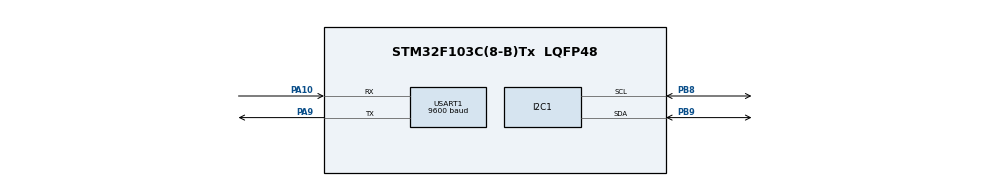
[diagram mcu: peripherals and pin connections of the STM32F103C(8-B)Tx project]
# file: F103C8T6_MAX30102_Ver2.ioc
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Mcu.Family=STM32F1
Mcu.Name=STM32F103C(8-B)Tx
Mcu.Package=LQFP48
NVIC.PriorityGroup=NVIC_PRIORITYGROUP_4
NVIC.USART1_IRQn=true\:0\:0\:false\:false\:true\:true\:true\:true
PA10.Mode=Asynchronous
PA10.Signal=USART1_RX
PA13.Mode=Serial_Wire
PA13.Signal=SYS_JTMS-SWDIO
PA14.Mode=Serial_Wire
PA14.Signal=SYS_JTCK-SWCLK
PA9.Mode=Asynchronous
PA9.Signal=USART1_TX
PB8.Mode=I2C
PB8.Signal=I2C1_SCL
PB9.Mode=I2C
PB9.Signal=I2C1_SDA
PC14-OSC32_IN.Mode=LSE-External-Oscillator
PC14-OSC32_IN.Signal=RCC_OSC32_IN
PC15-OSC32_OUT.Mode=LSE-External-Oscillator
PC15-OSC32_OUT.Signal=RCC_OSC32_OUT
PD0-OSC_IN.Mode=HSE-External-Oscillator
PD0-OSC_IN.Signal=RCC_OSC_IN
PD1-OSC_OUT.Mode=HSE-External-Oscillator
PD1-OSC_OUT.Signal=RCC_OSC_OUT
ProjectManager.HeapSize=0x200
ProjectManager.StackSize=0x400
ProjectManager.TargetToolchain=STM32CubeIDE
RCC.AHBFreq_Value=72000000
RCC.APB1CLKDivider=RCC_HCLK_DIV2
RCC.APB1Freq_Value=36000000
RCC.APB1TimFreq_Value=72000000
RCC.APB2Freq_Value=72000000
RCC.APB2TimFreq_Value=72000000
RCC.HCLKFreq_Value=72000000
RCC.PLLMUL=RCC_PLL_MUL9
RCC.PLLSourceVirtual=RCC_PLLSOURCE_HSE
RCC.SYSCLKFreq_VALUE=72000000
RCC.SYSCLKSource=RCC_SYSCLKSOURCE_PLLCLK
RCC.USBFreq_Value=72000000
USART1.BaudRate=9600
USART1.VirtualMode=VM_ASYNC
board=custom

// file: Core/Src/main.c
/* USER CODE BEGIN Header */
/**
 ******************************************************************************
 * @file           : main.c
 * @brief          : Main program body
 ******************************************************************************
 * @attention
 *
 * Copyright (c) 2025 STMicroelectronics.
 * All rights reserved.
 *
 * This software is licensed under terms that can be found in the LICENSE file
 * in the root directory of this software component.
 * If no LICENSE file comes with this software, it is provided AS-IS.
 *
 ******************************************************************************
 */
/* USER CODE END Header */
#include "main.h"

/* USER CODE BEGIN Includes */
#include <stdio.h>
#include <string.h>
#include <math.h>
/* USER CODE END Includes */

/* USER CODE BEGIN PTD */
#define MAX30102_ADDR      (0x57 << 1)
#define REG_MODE_CONFIG    0x09
#define REG_SPO2_CONFIG    0x0A
#define REG_LED1_PA        0x0C
#define REG_LED2_PA        0x0D
#define REG_FIFO_DATA      0x07
/* USER CODE END PTD */

I2C_HandleTypeDef hi2c1;

UART_HandleTypeDef huart1;

/* USER CODE BEGIN PV */
uint8_t rx_byte;
char buf[128];
uint32_t red, ir;
int sample_index = 0;

#define SAMPLE_SIZE 100
uint32_t red_samples[SAMPLE_SIZE];
uint32_t ir_samples[SAMPLE_SIZE];
/* USER CODE END PV */

void SystemClock_Config(void);
static void MX_GPIO_Init(void);
static void MX_I2C1_Init(void);
static void MX_USART1_UART_Init(void);

/* USER CODE BEGIN 0 */
void uart_print(char *msg) {
	HAL_UART_Transmit(&huart1, (uint8_t*) msg, strlen(msg), HAL_MAX_DELAY);
}

HAL_StatusTypeDef MAX30102_WriteReg(uint8_t reg, uint8_t data) {
	return HAL_I2C_Mem_Write(&hi2c1, MAX30102_ADDR, reg, I2C_MEMADD_SIZE_8BIT,
			&data, 1, HAL_MAX_DELAY);
}

HAL_StatusTypeDef MAX30102_ReadFIFO(uint32_t *red, uint32_t *ir) {
	uint8_t data[6];
	if (HAL_I2C_Mem_Read(&hi2c1, MAX30102_ADDR, REG_FIFO_DATA,
	I2C_MEMADD_SIZE_8BIT, data, 6, HAL_MAX_DELAY) != HAL_OK)
		return HAL_ERROR;
	*red = ((uint32_t) data[0] << 16) | ((uint32_t) data[1] << 8) | data[2];
	*ir = ((uint32_t) data[3] << 16) | ((uint32_t) data[4] << 8) | data[5];
	return HAL_OK;
}

void MAX30102_Init(void) {
	HAL_Delay(100);
	MAX30102_WriteReg(REG_MODE_CONFIG, 0x03);
	MAX30102_WriteReg(REG_LED1_PA, 0x1F); // Red
	MAX30102_WriteReg(REG_LED2_PA, 0x1F); // IR
	MAX30102_WriteReg(REG_SPO2_CONFIG, 0x27);
}

void HAL_UART_RxCpltCallback(UART_HandleTypeDef *huart) {
	if (huart->Instance == USART1) {
		HAL_UART_Transmit(&huart1, &rx_byte, 1, HAL_MAX_DELAY);
		HAL_UART_Receive_IT(&huart1, &rx_byte, 1);
	}
}

/* USER CODE END 0 */

int main(void) {

	/* MCU Configuration--------------------------------------------------------*/

	/* Reset of all peripherals, Initializes the Flash interface and the Systick. */
	HAL_Init();

	/* Configure the system clock */
	SystemClock_Config();

	/* Initialize all configured peripherals */
	MX_GPIO_Init();
	MX_I2C1_Init();
	MX_USART1_UART_Init();
	/* USER CODE BEGIN 2 */
	HAL_UART_Receive_IT(&huart1, &rx_byte, 1);

	uart_print("Initializing MAX30102...\r\n");
	MAX30102_Init();
	HAL_Delay(100);
	/* USER CODE END 2 */

	/* Infinite loop */
	while (1) {

		/* USER CODE BEGIN 3 */
		if (MAX30102_ReadFIFO(&red, &ir) == HAL_OK) {
			// store samples
			red_samples[sample_index] = red;
			ir_samples[sample_index] = ir;
			sample_index++;

			if (sample_index >= SAMPLE_SIZE) {
				// --- Heart Rate & SpO2 Calculation ---
				// Compute DC (average)
				double red_dc = 0, ir_dc = 0;
				for (int i = 0; i < SAMPLE_SIZE; i++) {
					red_dc += red_samples[i];
					ir_dc += ir_samples[i];
				}
				red_dc /= SAMPLE_SIZE;
				ir_dc /= SAMPLE_SIZE;

				// Compute AC (peak-to-peak)
				double red_ac = 0, ir_ac = 0;
				uint32_t red_min = red_samples[0], red_max = red_samples[0];
				uint32_t ir_min = ir_samples[0], ir_max = ir_samples[0];
				for (int i = 0; i < SAMPLE_SIZE; i++) {
					if (red_samples[i] < red_min)
						red_min = red_samples[i];
					if (red_samples[i] > red_max)
						red_max = red_samples[i];
					if (ir_samples[i] < ir_min)
						ir_min = ir_samples[i];
					if (ir_samples[i] > ir_max)
						ir_max = ir_samples[i];
				}
				red_ac = red_max - red_min;
				ir_ac = ir_max - ir_min;

				// SpO2 estimation
				double ratio = (red_ac / red_dc) / (ir_ac / ir_dc);
				double spo2 = 110 - 25 * ratio;

				// Heart rate estimation (very basic: count IR peaks)
				int beats = 0;
				for (int i = 1; i < SAMPLE_SIZE - 1; i++) {
					if (ir_samples[i] > ir_samples[i - 1]
							&& ir_samples[i] > ir_samples[i + 1]
							&& ir_samples[i] > ir_dc) {
						beats++;
					}
				}
				// Extrapolate BPM for 100 samples (~10 sec at 10Hz)
				double bpm = beats * 6.0; // 10 sec window → 60 sec

				// Print results
				sprintf(buf, "HR: %.0f BPM, SpO2: %.1f %%\r\n", bpm, spo2);
				uart_print(buf);

				sample_index = 0; // reset sample buffer
			}
		}
		HAL_Delay(100); // 10Hz sample rate
	}
}
/* USER CODE END 3 */

void SystemClock_Config(void) {
RCC_OscInitTypeDef RCC_OscInitStruct = { 0 };
RCC_ClkInitTypeDef RCC_ClkInitStruct = { 0 };

/** Initializes the RCC Oscillators according to the specified parameters
 * in the RCC_OscInitTypeDef structure.
 */
RCC_OscInitStruct.OscillatorType = RCC_OSCILLATORTYPE_HSE;
RCC_OscInitStruct.HSEState = RCC_HSE_ON;
RCC_OscInitStruct.HSEPredivValue = RCC_HSE_PREDIV_DIV1;
RCC_OscInitStruct.HSIState = RCC_HSI_ON;
RCC_OscInitStruct.PLL.PLLState = RCC_PLL_ON;
RCC_OscInitStruct.PLL.PLLSource = RCC_PLLSOURCE_HSE;
RCC_OscInitStruct.PLL.PLLMUL = RCC_PLL_MUL9;
if (HAL_RCC_OscConfig(&RCC_OscInitStruct) != HAL_OK) {
	Error_Handler();
}

/** Initializes the CPU, AHB and APB buses clocks
 */
RCC_ClkInitStruct.ClockType = RCC_CLOCKTYPE_HCLK | RCC_CLOCKTYPE_SYSCLK
		| RCC_CLOCKTYPE_PCLK1 | RCC_CLOCKTYPE_PCLK2;
RCC_ClkInitStruct.SYSCLKSource = RCC_SYSCLKSOURCE_PLLCLK;
RCC_ClkInitStruct.AHBCLKDivider = RCC_SYSCLK_DIV1;
RCC_ClkInitStruct.APB1CLKDivider = RCC_HCLK_DIV2;
RCC_ClkInitStruct.APB2CLKDivider = RCC_HCLK_DIV1;

if (HAL_RCC_ClockConfig(&RCC_ClkInitStruct, FLASH_LATENCY_2) != HAL_OK) {
	Error_Handler();
}
}

static void MX_I2C1_Init(void) {

hi2c1.Instance = I2C1;
hi2c1.Init.ClockSpeed = 100000;
hi2c1.Init.DutyCycle = I2C_DUTYCYCLE_2;
hi2c1.Init.OwnAddress1 = 0;
hi2c1.Init.AddressingMode = I2C_ADDRESSINGMODE_7BIT;
hi2c1.Init.DualAddressMode = I2C_DUALADDRESS_DISABLE;
hi2c1.Init.OwnAddress2 = 0;
hi2c1.Init.GeneralCallMode = I2C_GENERALCALL_DISABLE;
hi2c1.Init.NoStretchMode = I2C_NOSTRETCH_DISABLE;
if (HAL_I2C_Init(&hi2c1) != HAL_OK) {
	Error_Handler();
}

}

static void MX_USART1_UART_Init(void) {

huart1.Instance = USART1;
huart1.Init.BaudRate = 9600;
huart1.Init.WordLength = UART_WORDLENGTH_8B;
huart1.Init.StopBits = UART_STOPBITS_1;
huart1.Init.Parity = UART_PARITY_NONE;
huart1.Init.Mode = UART_MODE_TX_RX;
huart1.Init.HwFlowCtl = UART_HWCONTROL_NONE;
huart1.Init.OverSampling = UART_OVERSAMPLING_16;
if (HAL_UART_Init(&huart1) != HAL_OK) {
	Error_Handler();
}

}

static void MX_GPIO_Init(void) {

/* GPIO Ports Clock Enable */
__HAL_RCC_GPIOC_CLK_ENABLE();
__HAL_RCC_GPIOD_CLK_ENABLE();
__HAL_RCC_GPIOA_CLK_ENABLE();
__HAL_RCC_GPIOB_CLK_ENABLE();

}

void Error_Handler(void) {
__disable_irq();
while (1) {
}
}
